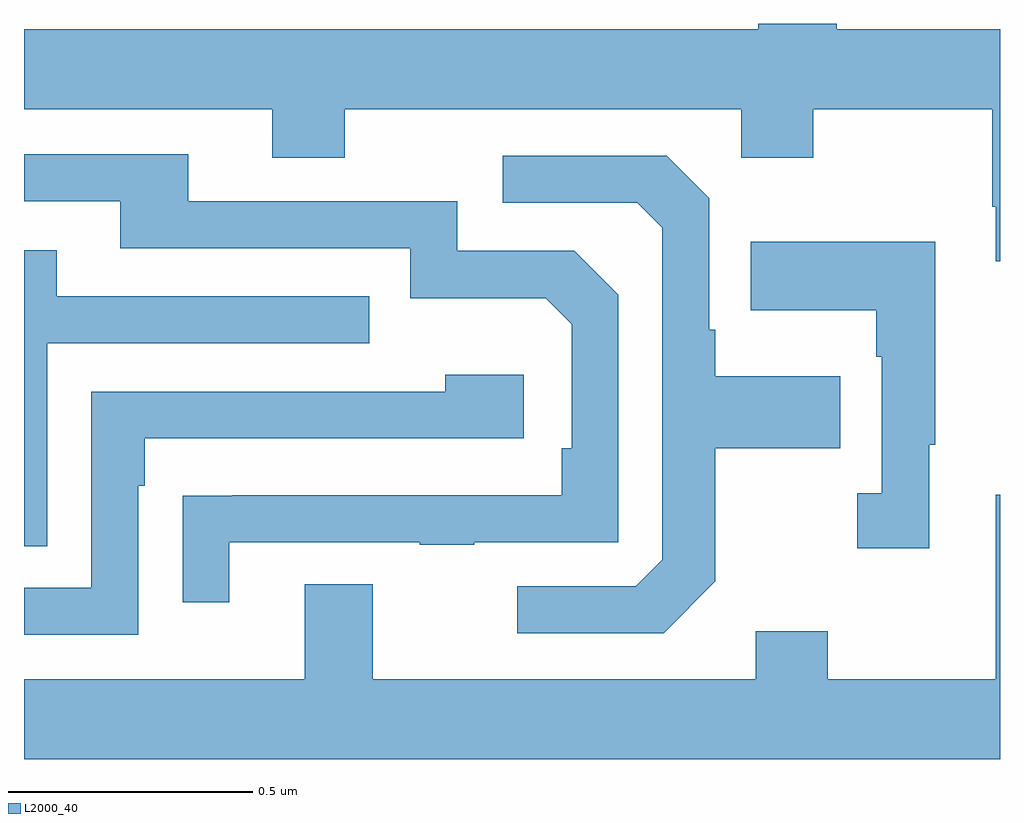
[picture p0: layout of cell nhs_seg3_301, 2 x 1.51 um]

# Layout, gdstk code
import gdstk
lib = gdstk.Library(unit=1e-6, precision=1e-09)
def P(c, l, *ps):  # polygons
    for p in ps: c.add(gdstk.Polygon(p, *l))
L2000_40 = (2000, 40)

nhs_seg3_301 = lib.new_cell('nhs_seg3_301')
P(nhs_seg3_301, L2000_40, [(116,726.388),(115.665,726.388),(115.665,726.4),(115.505,726.4),(115.505,726.388),(114,726.388),(114,726.224),(114.509,726.224),(114.509,726.125),(114.657,726.125),(114.657,726.224),(115.47,726.224),(115.47,726.125),(115.617,726.125),(115.617,726.224),(115.984,726.224),(115.984,726.025),(115.991,726.025),(115.991,725.913),(116,725.913)],
  [(114.421,725.337),(114.811,725.337),(114.811,725.332),(114.923,725.332),(114.923,725.337),(115.218,725.337),(115.218,725.844),(115.128,725.934),(114.888,725.934),(114.888,726.036),(114.337,726.036),(114.337,726.132),(114,726.132),(114,726.036),(114.197,726.036),(114.197,725.94),(114.792,725.94),(114.792,725.837),(115.069,725.837),(115.122,725.784),(115.122,725.53),(115.102,725.53),(115.102,725.433),(114.427,725.433),(114.427,725.432),(114.325,725.432),(114.325,725.214),(114.421,725.214)],
  [(115.417,725.257),(115.417,725.53),(115.673,725.53),(115.673,725.677),(115.417,725.677),(115.417,725.773),(115.404,725.773),(115.404,726.042),(115.317,726.129),(114.981,726.129),(114.981,726.033),(115.257,726.033),(115.308,725.982),(115.308,725.301),(115.254,725.247),(115.011,725.247),(115.011,725.151),(115.311,725.151)],
  [(115.855,725.537),(115.867,725.537),(115.867,725.953),(115.489,725.953),(115.489,725.813),(115.746,725.813),(115.746,725.717),(115.758,725.717),(115.758,725.438),(115.707,725.438),(115.707,725.325),(115.855,725.325)],
  [(114.048,725.745),(114.707,725.745),(114.707,725.841),(114.067,725.841),(114.067,725.935),(114,725.935),(114,725.329),(114.048,725.329)],
  [(114.234,725.453),(114.247,725.453),(114.247,725.55),(115.024,725.55),(115.024,725.68),(114.863,725.68),(114.863,725.646),(114.138,725.646),(114.138,725.244),(114,725.244),(114,725.148),(114.234,725.148)],
  [(116,725.434),(115.991,725.434),(115.991,725.056),(115.647,725.056),(115.647,725.155),(115.499,725.155),(115.499,725.056),(114.715,725.056),(114.715,725.251),(114.575,725.251),(114.575,725.056),(114,725.056),(114,724.892),(116,724.892)])

lib.write_gds('nhs_seg3_301.gds')
